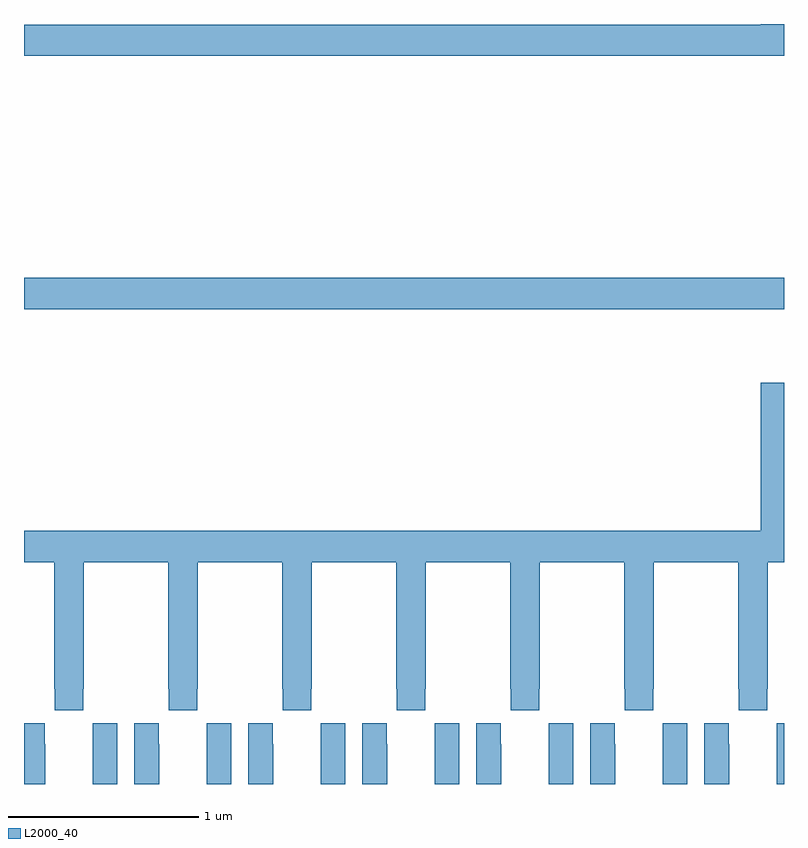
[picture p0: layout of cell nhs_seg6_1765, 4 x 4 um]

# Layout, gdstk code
import gdstk
lib = gdstk.Library(unit=1e-6, precision=1e-09)
def R(c, l, rs):  # rectangles x0, y0, x1, y1
    for r in rs: c.add(gdstk.rectangle(r[:2], r[2:], *l))
def P(c, l, *ps):  # polygons
    for p in ps: c.add(gdstk.Polygon(p, *l))
L2000_40 = (2000, 40)

nhs_seg6_1765 = lib.new_cell('nhs_seg6_1765')
R(nhs_seg6_1765, L2000_40, [(217,950,221,950.164)])
P(nhs_seg6_1765, L2000_40, [(221,951.5),(220.877,951.5),(220.877,951.496),(217,951.496),(217,951.332),(221,951.332)],
  [(217.311,948.001),(217.314,948.001),(217.314,948.668),(217.759,948.668),(217.759,948.001),(217.761,948.001),(217.761,947.889),(217.911,947.889),(217.911,948.001),(217.914,948.001),(217.914,948.668),(218.359,948.668),(218.359,948.001),(218.361,948.001),(218.361,947.889),(218.511,947.889),(218.511,948.001),(218.514,948.001),(218.514,948.668),(218.959,948.668),(218.959,948.001),(218.961,948.001),(218.961,947.889),(219.111,947.889),(219.111,948.001),(219.114,948.001),(219.114,948.668),(219.559,948.668),(219.559,948.001),(219.561,948.001),(219.561,947.889),(219.711,947.889),(219.711,948.001),(219.714,948.001),(219.714,948.668),(220.159,948.668),(220.159,948.001),(220.161,948.001),(220.161,947.889),(220.311,947.889),(220.311,948.001),(220.314,948.001),(220.314,948.668),(220.759,948.668),(220.759,948.001),(220.761,948.001),(220.761,947.889),(220.911,947.889),(220.911,948.001),(220.914,948.001),(220.914,948.668),(221,948.668),(221,949.612),(220.877,949.612),(220.877,948.832),(217,948.832),(217,948.668),(217.159,948.668),(217.159,948.001),(217.161,948.001),(217.161,947.889),(217.311,947.889)],
  [(217.111,947.708),(217.11,947.708),(217.11,947.821),(217,947.821),(217,947.5),(217.111,947.5)],
  [(217.492,947.821),(217.362,947.821),(217.362,947.708),(217.361,947.708),(217.361,947.5),(217.492,947.5)],
  [(221,947.821),(220.962,947.821),(220.962,947.708),(220.961,947.708),(220.961,947.5),(221,947.5)],
  [(220.711,947.708),(220.71,947.708),(220.71,947.821),(220.58,947.821),(220.58,947.5),(220.711,947.5)],
  [(220.492,947.821),(220.362,947.821),(220.362,947.708),(220.361,947.708),(220.361,947.5),(220.492,947.5)],
  [(220.111,947.708),(220.11,947.708),(220.11,947.821),(219.98,947.821),(219.98,947.5),(220.111,947.5)],
  [(219.892,947.821),(219.762,947.821),(219.762,947.708),(219.761,947.708),(219.761,947.5),(219.892,947.5)],
  [(219.511,947.708),(219.51,947.708),(219.51,947.821),(219.38,947.821),(219.38,947.5),(219.511,947.5)],
  [(219.292,947.821),(219.162,947.821),(219.162,947.708),(219.161,947.708),(219.161,947.5),(219.292,947.5)],
  [(218.911,947.708),(218.91,947.708),(218.91,947.821),(218.78,947.821),(218.78,947.5),(218.911,947.5)],
  [(218.692,947.821),(218.562,947.821),(218.562,947.708),(218.561,947.708),(218.561,947.5),(218.692,947.5)],
  [(218.311,947.708),(218.31,947.708),(218.31,947.821),(218.18,947.821),(218.18,947.5),(218.311,947.5)],
  [(218.092,947.821),(217.962,947.821),(217.962,947.708),(217.961,947.708),(217.961,947.5),(218.092,947.5)],
  [(217.71,947.708),(217.71,947.821),(217.58,947.821),(217.58,947.5),(217.711,947.5),(217.711,947.708)])

lib.write_gds('nhs_seg6_1765.gds')
